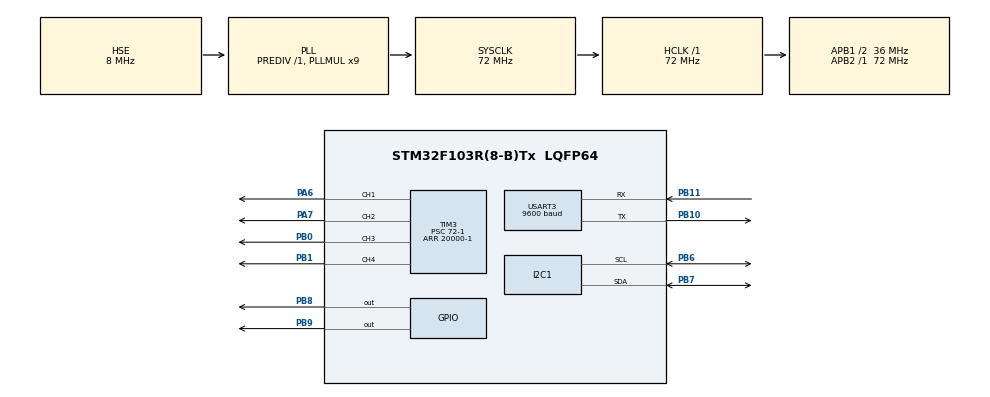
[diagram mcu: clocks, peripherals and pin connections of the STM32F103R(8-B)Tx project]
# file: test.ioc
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Dma.Request0=USART3_RX
Dma.Request1=USART3_TX
Dma.USART3_RX.0.Direction=DMA_PERIPH_TO_MEMORY
Dma.USART3_RX.0.Instance=DMA1_Channel3
Dma.USART3_RX.0.MemDataAlignment=DMA_MDATAALIGN_BYTE
Dma.USART3_RX.0.MemInc=DMA_MINC_ENABLE
Dma.USART3_RX.0.Mode=DMA_CIRCULAR
Dma.USART3_RX.0.PeriphDataAlignment=DMA_PDATAALIGN_BYTE
Dma.USART3_RX.0.PeriphInc=DMA_PINC_DISABLE
Dma.USART3_RX.0.Priority=DMA_PRIORITY_VERY_HIGH
Dma.USART3_TX.1.Direction=DMA_MEMORY_TO_PERIPH
Dma.USART3_TX.1.Instance=DMA1_Channel2
Dma.USART3_TX.1.MemDataAlignment=DMA_MDATAALIGN_BYTE
Dma.USART3_TX.1.MemInc=DMA_MINC_ENABLE
Dma.USART3_TX.1.Mode=DMA_NORMAL
Dma.USART3_TX.1.PeriphDataAlignment=DMA_PDATAALIGN_BYTE
Dma.USART3_TX.1.PeriphInc=DMA_PINC_DISABLE
Dma.USART3_TX.1.Priority=DMA_PRIORITY_VERY_HIGH
FREERTOS.Tasks01=pidLoop,49,128,pidLoopBegin,Default,NULL,Dynamic,NULL,NULL;imuReadLoop,50,128,imuReadLoopBegin,Default,NULL,Dynamic,NULL,NULL;statsPrintLoop,24,128,statsPrintLoopBegin,Default,NULL,Dynamic,NULL,NULL
Mcu.Family=STM32F1
Mcu.Name=STM32F103R(8-B)Tx
Mcu.Package=LQFP64
NVIC.DMA1_Channel2_IRQn=true\:5\:0\:false\:false\:true\:true\:false\:true
NVIC.DMA1_Channel3_IRQn=true\:5\:0\:false\:false\:true\:true\:false\:true
NVIC.PriorityGroup=NVIC_PRIORITYGROUP_4
NVIC.TIM3_IRQn=true\:5\:0\:false\:false\:true\:true\:true\:true
NVIC.TIM4_IRQn=true\:0\:0\:false\:false\:true\:false\:false\:true
NVIC.TimeBase=TIM4_IRQn
NVIC.TimeBaseIP=TIM4
NVIC.USART3_IRQn=true\:5\:0\:false\:false\:true\:true\:true\:true
PA6.Signal=S_TIM3_CH1
PA7.Signal=S_TIM3_CH2
PB0.Signal=S_TIM3_CH3
PB1.Signal=S_TIM3_CH4
PB10.Mode=Asynchronous
PB10.Signal=USART3_TX
PB11.Mode=Asynchronous
PB11.Signal=USART3_RX
PB6.Mode=I2C
PB6.Signal=I2C1_SCL
PB7.Mode=I2C
PB7.Signal=I2C1_SDA
PB8.Signal=GPIO_Output
PB9.Signal=GPIO_Output
PD0-OSC_IN.Mode=HSE-External-Oscillator
PD0-OSC_IN.Signal=RCC_OSC_IN
PD1-OSC_OUT.Mode=HSE-External-Oscillator
PD1-OSC_OUT.Signal=RCC_OSC_OUT
ProjectManager.HeapSize=0x200
ProjectManager.StackSize=0x400
ProjectManager.TargetToolchain=STM32CubeIDE
RCC.AHBFreq_Value=72000000
RCC.APB1CLKDivider=RCC_HCLK_DIV2
RCC.APB1Freq_Value=36000000
RCC.APB1TimFreq_Value=72000000
RCC.APB2Freq_Value=72000000
RCC.APB2TimFreq_Value=72000000
RCC.HCLKFreq_Value=72000000
RCC.PLLMUL=RCC_PLL_MUL9
RCC.PLLSourceVirtual=RCC_PLLSOURCE_HSE
RCC.SYSCLKFreq_VALUE=72000000
RCC.SYSCLKSource=RCC_SYSCLKSOURCE_PLLCLK
RCC.USBFreq_Value=72000000
SH.S_TIM3_CH1.0=TIM3_CH1,PWM Generation1 CH1
SH.S_TIM3_CH2.0=TIM3_CH2,PWM Generation2 CH2
SH.S_TIM3_CH3.0=TIM3_CH3,PWM Generation3 CH3
SH.S_TIM3_CH4.0=TIM3_CH4,PWM Generation4 CH4
TIM3.Channel-PWM\ Generation1\ CH1=TIM_CHANNEL_1
TIM3.Channel-PWM\ Generation2\ CH2=TIM_CHANNEL_2
TIM3.Channel-PWM\ Generation3\ CH3=TIM_CHANNEL_3
TIM3.Channel-PWM\ Generation4\ CH4=TIM_CHANNEL_4
TIM3.Period=20000-1
TIM3.Prescaler=72-1
TIM3.Pulse-PWM\ Generation1\ CH1=1600
USART3.BaudRate=9600
USART3.VirtualMode=VM_ASYNC
VP_FREERTOS_VS_CMSIS_V2.Mode=CMSIS_V2
VP_SYS_VS_ND.Mode=No_Debug
VP_SYS_VS_tim4.Mode=TIM4
VP_TIM3_VS_ClockSourceINT.Mode=Internal
board=custom

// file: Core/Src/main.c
/* USER CODE BEGIN Header */
/**
 ******************************************************************************
 * @file           : main.c
 * @brief          : Main program body
 ******************************************************************************
 * @attention
 *
 * <h2><center>&copy; Copyright (c) 2020 STMicroelectronics.
 * All rights reserved.</center></h2>
 *
 * This software component is licensed by ST under BSD 3-Clause license,
 * the "License"; You may not use this file except in compliance with the
 * License. You may obtain a copy of the License at:
 *                        opensource.org/licenses/BSD-3-Clause
 *
 ******************************************************************************
 */
/* USER CODE END Header */

#include "main.h"
#include "cmsis_os.h"

/* USER CODE BEGIN Includes */
#include "string.h"
#include "stdarg.h"
#include "stdio.h"
/* USER CODE END Includes */

/* USER CODE BEGIN PD */
#define MPU6050_ADDR 0xD0

#define SMPLRT_DIV_REG 0x19
#define GYRO_CONFIG_REG 0x1B
#define ACCEL_CONFIG_REG 0x1C
#define ACCEL_XOUT_H_REG 0x3B
#define TEMP_OUT_H_REG 0x41
#define GYRO_XOUT_H_REG 0x43
#define PWR_MGMT_1_REG 0x6B
#define WHO_AM_I_REG 0x75
/* USER CODE END PD */

I2C_HandleTypeDef hi2c1;

TIM_HandleTypeDef htim3;

UART_HandleTypeDef huart3;
DMA_HandleTypeDef hdma_usart3_rx;
DMA_HandleTypeDef hdma_usart3_tx;

/* Definitions for pidLoop */
osThreadId_t pidLoopHandle;
const osThreadAttr_t pidLoop_attributes = { .name = "pidLoop", .priority =
		(osPriority_t) osPriorityRealtime1, .stack_size = 128 * 4 };
/* Definitions for imuReadLoop */
osThreadId_t imuReadLoopHandle;
const osThreadAttr_t imuReadLoop_attributes = { .name = "imuReadLoop",
		.priority = (osPriority_t) osPriorityRealtime2, .stack_size = 128 * 4 };
/* Definitions for statsPrintLoop */
osThreadId_t statsPrintLoopHandle;
const osThreadAttr_t statsPrintLoop_attributes = { .name = "statsPrintLoop",
		.priority = (osPriority_t) osPriorityNormal, .stack_size = 128 * 4 };
/* USER CODE BEGIN PV */

uint8_t receivedData[20] = "12345678901234567890"; //= "5234698765";
int16_t Accel_X_RAW = 0;
int16_t Accel_Y_RAW = 0;
int16_t Accel_Z_RAW = 0;
int16_t Gyro_X_RAW = 0;
int16_t Gyro_Y_RAW = 0;
int16_t Gyro_Z_RAW = 0;
float Ax, Ay, Az, Gx, Gy, Gz;

uint16_t throttle, pitch, roll, yaw;

/* USER CODE END PV */

void SystemClock_Config(void);
static void MX_GPIO_Init(void);
static void MX_DMA_Init(void);
static void MX_TIM3_Init(void);
static void MX_I2C1_Init(void);
static void MX_USART3_UART_Init(void);
void pidLoopBegin(void *argument);
void imuReadLoopBegin(void *argument);
void statsPrintLoopBegin(void *argument);

/* USER CODE BEGIN 0 */
void prints(const char *fmt) {
	char string[20];

	if (0 < sprintf(string, fmt)) // build string
			{
		if (HAL_UART_Transmit_DMA(&huart3, (uint8_t*) string, 20) == HAL_OK) {
			HAL_GPIO_TogglePin(GPIOB, GPIO_PIN_9);
		} else {
		}
	}
}

void USART2_IRQHandler(void) {
	HAL_UART_IRQHandler(&huart3);
}
void HAL_UART_RxHalfCpltCallback(UART_HandleTypeDef *huart) {

//	HAL_GPIO_TogglePin(GPIOB, GPIO_PIN_9);
}

void HAL_UART_RxCpltCallback(UART_HandleTypeDef *huart) {

	HAL_UART_Transmit(huart, receivedData, 20, 10);
	/*
	 HAL_UART_Transmit args
	 UART_HandleTypeDef *huart, --> This is uart handle as I am using UART2 so the handle is huart2
	 uint8_t *pData,   --> the receivedData to be sent
	 uint16_t Size,    --> size of receivedData
	 uint32_t Timeout   --> timeout before error in milliseconds
	 * */
	HAL_GPIO_TogglePin(GPIOB, GPIO_PIN_9);
	HAL_UART_Receive_DMA(huart, receivedData, 20);
}
void MPU6050_Init(void) {
	uint8_t check;
	uint8_t Data;

	// check device ID WHO_AM_I
	HAL_Delay(1000);
//	prints("initializing4567890");
	HAL_I2C_Mem_Read(&hi2c1, MPU6050_ADDR, WHO_AM_I_REG, 1, &check, 1, 1000);

	if (check == 104) // 0x68 will be returned by the sensor if everything goes well
			{
		// power management register 0X6B we should write all 0's to wake the sensor up
		Data = 0;
		HAL_I2C_Mem_Write(&hi2c1, MPU6050_ADDR, PWR_MGMT_1_REG, 1, &Data, 1,
				1000);

		// Set DATA RATE of 1KHz by writing SMPLRT_DIV register
		Data = 0x07;
		HAL_I2C_Mem_Write(&hi2c1, MPU6050_ADDR, SMPLRT_DIV_REG, 1, &Data, 1,
				1000);

		// Set accelerometer configuration in ACCEL_CONFIG Register
		// XA_ST=0,YA_ST=0,ZA_ST=0, FS_SEL=0 -> � 2g
		Data = 0x00;
		HAL_I2C_Mem_Write(&hi2c1, MPU6050_ADDR, ACCEL_CONFIG_REG, 1, &Data, 1,
				1000);

		// Set Gyroscopic configuration in GYRO_CONFIG Register
		// XG_ST=0,YG_ST=0,ZG_ST=0, FS_SEL=0 -> � 250 �/s
		Data = 0x00;
		HAL_I2C_Mem_Write(&hi2c1, MPU6050_ADDR, GYRO_CONFIG_REG, 1, &Data, 1,
				1000);
//		prints("Successful Init67890");
		HAL_GPIO_WritePin(GPIOB, GPIO_PIN_8, GPIO_PIN_RESET);
		HAL_GPIO_WritePin(GPIOB, GPIO_PIN_9, GPIO_PIN_RESET);

	} else {
//		prints("Failure init34567890");
		HAL_GPIO_WritePin(GPIOB, GPIO_PIN_8, GPIO_PIN_SET);
		HAL_GPIO_WritePin(GPIOB, GPIO_PIN_9, GPIO_PIN_SET);
	}

}
void MPU6050_Read_Accel(void) {
	uint8_t Rec_Data[6];

	// Read 6 BYTES of receivedData starting from ACCEL_XOUT_H register
	while (HAL_I2C_Mem_Read(&hi2c1, MPU6050_ADDR, ACCEL_XOUT_H_REG, 1, Rec_Data,
			6, 1000) != HAL_OK)
		;

	Accel_X_RAW = (int16_t) (Rec_Data[0] << 8 | Rec_Data[1]);
	Accel_Y_RAW = (int16_t) (Rec_Data[2] << 8 | Rec_Data[3]);
	Accel_Z_RAW = (int16_t) (Rec_Data[4] << 8 | Rec_Data[5]);

	/*** convert the RAW values into acceleration in 'g'
	 we have to divide according to the Full scale value set in FS_SEL
	 I have configured FS_SEL = 0. So I am dividing by 16384.0
	 for more details check ACCEL_CONFIG Register              ****/

	Ax = Accel_X_RAW / 16384.0;
	Ay = Accel_Y_RAW / 16384.0;
	Az = Accel_Z_RAW / 16384.0;
}
void MPU6050_Read_Gyro(void) {
	uint8_t Rec_Data[6];

	// Read 6 BYTES of receivedData starting from GYRO_XOUT_H register

	while (HAL_I2C_Mem_Read(&hi2c1, MPU6050_ADDR, GYRO_XOUT_H_REG, 1, Rec_Data,
			6, 1000) != HAL_OK)
		;

	Gyro_X_RAW = (int16_t) (Rec_Data[0] << 8 | Rec_Data[1]);
	Gyro_Y_RAW = (int16_t) (Rec_Data[2] << 8 | Rec_Data[3]);
	Gyro_Z_RAW = (int16_t) (Rec_Data[4] << 8 | Rec_Data[5]);

	/*** convert the RAW values into dps (�/s)
	 we have to divide according to the Full scale value set in FS_SEL
	 I have configured FS_SEL = 0. So I am dividing by 131.0
	 for more details check GYRO_CONFIG Register              ****/

	Gx = Gyro_X_RAW / 131.0;
	Gy = Gyro_Y_RAW / 131.0;
	Gz = Gyro_Z_RAW / 131.0;
}

void droneInit(void) {
	HAL_TIM_PWM_Start(&htim3, TIM_CHANNEL_1);
	HAL_TIM_PWM_Start(&htim3, TIM_CHANNEL_2);
	HAL_TIM_PWM_Start(&htim3, TIM_CHANNEL_3);
	HAL_TIM_PWM_Start(&htim3, TIM_CHANNEL_4);

	HAL_GPIO_WritePin(GPIOB, GPIO_PIN_8, GPIO_PIN_SET);
	HAL_GPIO_WritePin(GPIOB, GPIO_PIN_9, GPIO_PIN_SET);

	if (HAL_UART_Receive_DMA(&huart3, receivedData, 20) == HAL_OK) {
		HAL_GPIO_WritePin(GPIOB, GPIO_PIN_8, GPIO_PIN_SET);

	} else {
		HAL_GPIO_WritePin(GPIOB, GPIO_PIN_8, GPIO_PIN_RESET);
	}

	MPU6050_Init();

	//wait for esc to initialize and get calibrated
	HAL_Delay(5000);

}
void escSet(uint32_t channel) {
//	__HAL_TIM_SET_COMPARE(&htim3, channel, x);
}
/* USER CODE END 0 */

int main(void) {

	/* MCU Configuration--------------------------------------------------------*/

	/* Reset of all peripherals, Initializes the Flash interface and the Systick. */
	HAL_Init();

	/* Configure the system clock */
	SystemClock_Config();

	/* Initialize all configured peripherals */
	MX_GPIO_Init();
	MX_DMA_Init();
	MX_TIM3_Init();
	MX_I2C1_Init();
	MX_USART3_UART_Init();
	/* USER CODE BEGIN 2 */

//	char buf[20];
	droneInit();

	/* USER CODE END 2 */

	/* Init scheduler */
	osKernelInitialize();

	/* Create the thread(s) */
	/* creation of pidLoop */
	pidLoopHandle = osThreadNew(pidLoopBegin, NULL, &pidLoop_attributes);

	/* creation of imuReadLoop */
	imuReadLoopHandle = osThreadNew(imuReadLoopBegin, NULL,
			&imuReadLoop_attributes);

	/* creation of statsPrintLoop */
	statsPrintLoopHandle = osThreadNew(statsPrintLoopBegin, NULL,
			&statsPrintLoop_attributes);

	/* Start scheduler */
	osKernelStart();

	/* We should never get here as control is now taken by the scheduler */
	/* Infinite loop */
	while (1) {

	}
}

void SystemClock_Config(void) {
	RCC_OscInitTypeDef RCC_OscInitStruct = { 0 };
	RCC_ClkInitTypeDef RCC_ClkInitStruct = { 0 };

	/** Initializes the CPU, AHB and APB busses clocks
	 */
	RCC_OscInitStruct.OscillatorType = RCC_OSCILLATORTYPE_HSE;
	RCC_OscInitStruct.HSEState = RCC_HSE_ON;
	RCC_OscInitStruct.HSEPredivValue = RCC_HSE_PREDIV_DIV1;
	RCC_OscInitStruct.HSIState = RCC_HSI_ON;
	RCC_OscInitStruct.PLL.PLLState = RCC_PLL_ON;
	RCC_OscInitStruct.PLL.PLLSource = RCC_PLLSOURCE_HSE;
	RCC_OscInitStruct.PLL.PLLMUL = RCC_PLL_MUL9;
	if (HAL_RCC_OscConfig(&RCC_OscInitStruct) != HAL_OK) {
		Error_Handler();
	}
	/** Initializes the CPU, AHB and APB busses clocks
	 */
	RCC_ClkInitStruct.ClockType = RCC_CLOCKTYPE_HCLK | RCC_CLOCKTYPE_SYSCLK
			| RCC_CLOCKTYPE_PCLK1 | RCC_CLOCKTYPE_PCLK2;
	RCC_ClkInitStruct.SYSCLKSource = RCC_SYSCLKSOURCE_PLLCLK;
	RCC_ClkInitStruct.AHBCLKDivider = RCC_SYSCLK_DIV1;
	RCC_ClkInitStruct.APB1CLKDivider = RCC_HCLK_DIV2;
	RCC_ClkInitStruct.APB2CLKDivider = RCC_HCLK_DIV1;

	if (HAL_RCC_ClockConfig(&RCC_ClkInitStruct, FLASH_LATENCY_2) != HAL_OK) {
		Error_Handler();
	}
}

static void MX_I2C1_Init(void) {

	hi2c1.Instance = I2C1;
	hi2c1.Init.ClockSpeed = 100000;
	hi2c1.Init.DutyCycle = I2C_DUTYCYCLE_2;
	hi2c1.Init.OwnAddress1 = 0;
	hi2c1.Init.AddressingMode = I2C_ADDRESSINGMODE_7BIT;
	hi2c1.Init.DualAddressMode = I2C_DUALADDRESS_DISABLE;
	hi2c1.Init.OwnAddress2 = 0;
	hi2c1.Init.GeneralCallMode = I2C_GENERALCALL_DISABLE;
	hi2c1.Init.NoStretchMode = I2C_NOSTRETCH_DISABLE;
	if (HAL_I2C_Init(&hi2c1) != HAL_OK) {
		Error_Handler();
	}

}

static void MX_TIM3_Init(void) {

	TIM_ClockConfigTypeDef sClockSourceConfig = { 0 };
	TIM_MasterConfigTypeDef sMasterConfig = { 0 };
	TIM_OC_InitTypeDef sConfigOC = { 0 };

	htim3.Instance = TIM3;
	htim3.Init.Prescaler = 72 - 1;
	htim3.Init.CounterMode = TIM_COUNTERMODE_UP;
	htim3.Init.Period = 20000 - 1;
	htim3.Init.ClockDivision = TIM_CLOCKDIVISION_DIV1;
	htim3.Init.AutoReloadPreload = TIM_AUTORELOAD_PRELOAD_DISABLE;
	if (HAL_TIM_Base_Init(&htim3) != HAL_OK) {
		Error_Handler();
	}
	sClockSourceConfig.ClockSource = TIM_CLOCKSOURCE_INTERNAL;
	if (HAL_TIM_ConfigClockSource(&htim3, &sClockSourceConfig) != HAL_OK) {
		Error_Handler();
	}
	if (HAL_TIM_PWM_Init(&htim3) != HAL_OK) {
		Error_Handler();
	}
	sMasterConfig.MasterOutputTrigger = TIM_TRGO_RESET;
	sMasterConfig.MasterSlaveMode = TIM_MASTERSLAVEMODE_DISABLE;
	if (HAL_TIMEx_MasterConfigSynchronization(&htim3, &sMasterConfig)
			!= HAL_OK) {
		Error_Handler();
	}
	sConfigOC.OCMode = TIM_OCMODE_PWM1;
	sConfigOC.Pulse = 1600;
	sConfigOC.OCPolarity = TIM_OCPOLARITY_HIGH;
	sConfigOC.OCFastMode = TIM_OCFAST_DISABLE;
	if (HAL_TIM_PWM_ConfigChannel(&htim3, &sConfigOC, TIM_CHANNEL_1)
			!= HAL_OK) {
		Error_Handler();
	}
	sConfigOC.Pulse = 0;
	if (HAL_TIM_PWM_ConfigChannel(&htim3, &sConfigOC, TIM_CHANNEL_2)
			!= HAL_OK) {
		Error_Handler();
	}
	if (HAL_TIM_PWM_ConfigChannel(&htim3, &sConfigOC, TIM_CHANNEL_3)
			!= HAL_OK) {
		Error_Handler();
	}
	if (HAL_TIM_PWM_ConfigChannel(&htim3, &sConfigOC, TIM_CHANNEL_4)
			!= HAL_OK) {
		Error_Handler();
	}
	HAL_TIM_MspPostInit(&htim3);

}

static void MX_USART3_UART_Init(void) {

	huart3.Instance = USART3;
	huart3.Init.BaudRate = 9600;
	huart3.Init.WordLength = UART_WORDLENGTH_8B;
	huart3.Init.StopBits = UART_STOPBITS_1;
	huart3.Init.Parity = UART_PARITY_NONE;
	huart3.Init.Mode = UART_MODE_TX_RX;
	huart3.Init.HwFlowCtl = UART_HWCONTROL_NONE;
	huart3.Init.OverSampling = UART_OVERSAMPLING_16;
	if (HAL_UART_Init(&huart3) != HAL_OK) {
		Error_Handler();
	}

}

static void MX_DMA_Init(void) {

	/* DMA controller clock enable */
	__HAL_RCC_DMA1_CLK_ENABLE();

	/* DMA interrupt init */
	/* DMA1_Channel2_IRQn interrupt configuration */
	HAL_NVIC_SetPriority(DMA1_Channel2_IRQn, 5, 0);
	HAL_NVIC_EnableIRQ(DMA1_Channel2_IRQn);
	/* DMA1_Channel3_IRQn interrupt configuration */
	HAL_NVIC_SetPriority(DMA1_Channel3_IRQn, 5, 0);
	HAL_NVIC_EnableIRQ(DMA1_Channel3_IRQn);

}

static void MX_GPIO_Init(void) {
	GPIO_InitTypeDef GPIO_InitStruct = { 0 };

	/* GPIO Ports Clock Enable */
	__HAL_RCC_GPIOD_CLK_ENABLE();
	__HAL_RCC_GPIOA_CLK_ENABLE();
	__HAL_RCC_GPIOB_CLK_ENABLE();

	/*Configure GPIO pin Output Level */
	HAL_GPIO_WritePin(GPIOB, GPIO_PIN_8 | GPIO_PIN_9, GPIO_PIN_RESET);

	/*Configure GPIO pins : PB8 PB9 */
	GPIO_InitStruct.Pin = GPIO_PIN_8 | GPIO_PIN_9;
	GPIO_InitStruct.Mode = GPIO_MODE_OUTPUT_PP;
	GPIO_InitStruct.Pull = GPIO_NOPULL;
	GPIO_InitStruct.Speed = GPIO_SPEED_FREQ_LOW;
	HAL_GPIO_Init(GPIOB, &GPIO_InitStruct);

}

void pidLoopBegin(void *argument) {
	/* USER CODE BEGIN 5 */
	/* Infinite loop */
	for (;;) {

		osDelay(50);
	}
	/* USER CODE END 5 */
}

void imuReadLoopBegin(void *argument) {
	/* USER CODE BEGIN imuReadLoopBegin */
	/* Infinite loop */
	for (;;) {
		MPU6050_Read_Accel();
		MPU6050_Read_Gyro();
		osDelay(25);
	}
	/* USER CODE END imuReadLoopBegin */
}

void statsPrintLoopBegin(void *argument) {
	for (;;) {
		osDelay(1);
	}
}

void HAL_TIM_PeriodElapsedCallback(TIM_HandleTypeDef *htim) {
	if (htim->Instance == TIM4) {
		HAL_IncTick();
	}
}

void Error_Handler(void) {
}

/************************ (C) COPYRIGHT STMicroelectronics *****END OF FILE****/
